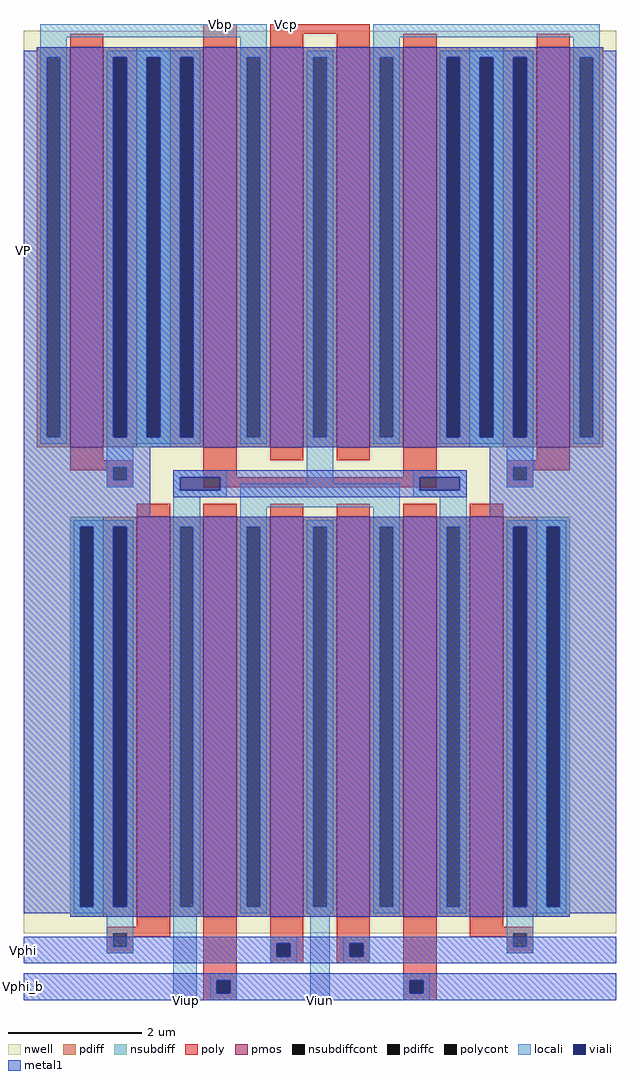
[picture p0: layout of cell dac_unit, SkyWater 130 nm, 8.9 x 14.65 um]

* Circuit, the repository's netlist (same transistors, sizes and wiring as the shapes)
* NGSPICE file created from dac_unit.ext - technology: sky130A

.subckt dac_unit Vbp Vcp Vphi Vphi_b Viup Viun VP
X0 a_3270_1770# Vcp a_2870_360# VP sky130_fd_pr__pfet_01v8 ad=1.5 pd=6.5 as=1.5 ps=6.5 w=6 l=0.5
X1 VP VP Viup VP sky130_fd_pr__pfet_01v8 ad=3 pd=13 as=1.5 ps=6.5 w=6 l=0.5
X2 a_2870_360# Vcp a_2270_1770# VP sky130_fd_pr__pfet_01v8 ad=1.5 pd=6.5 as=1.5 ps=6.5 w=6 l=0.5
X3 Viun Vphi a_2870_360# VP sky130_fd_pr__pfet_01v8 ad=1.5 pd=6.5 as=1.5 ps=6.5 w=6 l=0.5
X4 a_2870_360# Vphi Viun VP sky130_fd_pr__pfet_01v8 ad=1.5 pd=6.5 as=1.5 ps=6.5 w=6 l=0.5
X5 Viup VP VP VP sky130_fd_pr__pfet_01v8 ad=1.5 pd=6.5 as=3 ps=13 w=6 l=0.5
X6 VP Vbp a_3270_1770# VP sky130_fd_pr__pfet_01v8 ad=3 pd=13 as=1.5 ps=6.5 w=6 l=0.5
X7 a_3270_1770# VP VP VP sky130_fd_pr__pfet_01v8 ad=3 pd=13 as=3 ps=13 w=6 l=0.5
X8 VP VP a_2270_1770# VP sky130_fd_pr__pfet_01v8 ad=3 pd=13 as=3 ps=13 w=6 l=0.5
X9 a_2270_1770# Vbp VP VP sky130_fd_pr__pfet_01v8 ad=1.5 pd=6.5 as=3 ps=13 w=6 l=0.5
X10 Viup Vphi_b a_2870_360# VP sky130_fd_pr__pfet_01v8 ad=1.5 pd=6.5 as=1.5 ps=6.5 w=6 l=0.5
X11 a_2870_360# Vphi_b Viup VP sky130_fd_pr__pfet_01v8 ad=1.5 pd=6.5 as=1.5 ps=6.5 w=6 l=0.5
.ends

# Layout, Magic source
magic
tech sky130A
<< nwell >>
rect 1115 155 2005 1510
<< pmos >>
rect 1185 885 1235 1485
rect 1385 885 1435 1485
rect 1485 885 1535 1485
rect 1585 885 1635 1485
rect 1685 885 1735 1485
rect 1885 885 1935 1485
rect 1285 180 1335 780
rect 1385 180 1435 780
rect 1485 180 1535 780
rect 1585 180 1635 780
rect 1685 180 1735 780
rect 1785 180 1835 780
<< pdiff >>
rect 1135 1470 1185 1485
rect 1135 900 1150 1470
rect 1170 900 1185 1470
rect 1135 885 1185 900
rect 1235 1470 1285 1485
rect 1335 1470 1385 1485
rect 1235 900 1250 1470
rect 1270 900 1285 1470
rect 1335 900 1350 1470
rect 1370 900 1385 1470
rect 1235 885 1285 900
rect 1335 885 1385 900
rect 1435 1470 1485 1485
rect 1435 900 1450 1470
rect 1470 900 1485 1470
rect 1435 885 1485 900
rect 1535 1470 1585 1485
rect 1535 900 1550 1470
rect 1570 900 1585 1470
rect 1535 885 1585 900
rect 1635 1470 1685 1485
rect 1635 900 1650 1470
rect 1670 900 1685 1470
rect 1635 885 1685 900
rect 1735 1470 1785 1485
rect 1835 1470 1885 1485
rect 1735 900 1750 1470
rect 1770 900 1785 1470
rect 1835 900 1850 1470
rect 1870 900 1885 1470
rect 1735 885 1785 900
rect 1835 885 1885 900
rect 1935 1470 1985 1485
rect 1935 900 1950 1470
rect 1970 900 1985 1470
rect 1935 885 1985 900
rect 1235 765 1285 780
rect 1235 195 1250 765
rect 1270 195 1285 765
rect 1235 180 1285 195
rect 1335 765 1385 780
rect 1335 195 1350 765
rect 1370 195 1385 765
rect 1335 180 1385 195
rect 1435 765 1485 780
rect 1435 195 1450 765
rect 1470 195 1485 765
rect 1435 180 1485 195
rect 1535 765 1585 780
rect 1535 195 1550 765
rect 1570 195 1585 765
rect 1535 180 1585 195
rect 1635 765 1685 780
rect 1635 195 1650 765
rect 1670 195 1685 765
rect 1635 180 1685 195
rect 1735 765 1785 780
rect 1735 195 1750 765
rect 1770 195 1785 765
rect 1735 180 1785 195
rect 1835 765 1885 780
rect 1835 195 1850 765
rect 1870 195 1885 765
rect 1835 180 1885 195
<< pdiffc >>
rect 1150 900 1170 1470
rect 1250 900 1270 1470
rect 1350 900 1370 1470
rect 1450 900 1470 1470
rect 1550 900 1570 1470
rect 1650 900 1670 1470
rect 1750 900 1770 1470
rect 1850 900 1870 1470
rect 1950 900 1970 1470
rect 1250 195 1270 765
rect 1350 195 1370 765
rect 1450 195 1470 765
rect 1550 195 1570 765
rect 1650 195 1670 765
rect 1750 195 1770 765
rect 1850 195 1870 765
<< nsubdiff >>
rect 1285 1470 1335 1485
rect 1285 900 1300 1470
rect 1320 900 1335 1470
rect 1285 885 1335 900
rect 1785 1470 1835 1485
rect 1785 900 1800 1470
rect 1820 900 1835 1470
rect 1785 885 1835 900
rect 1185 765 1235 780
rect 1185 195 1200 765
rect 1220 195 1235 765
rect 1185 180 1235 195
rect 1885 765 1935 780
rect 1885 195 1900 765
rect 1920 195 1935 765
rect 1885 180 1935 195
<< nsubdiffcont >>
rect 1300 900 1320 1470
rect 1800 900 1820 1470
rect 1200 195 1220 765
rect 1900 195 1920 765
<< poly >>
rect 1185 1485 1235 1505
rect 1385 1485 1435 1520
rect 1485 1505 1635 1520
rect 1485 1485 1535 1505
rect 1585 1485 1635 1505
rect 1685 1485 1735 1505
rect 1885 1485 1935 1505
rect 1185 865 1235 885
rect 1185 855 1280 865
rect 1185 850 1250 855
rect 1240 835 1250 850
rect 1270 835 1280 855
rect 1240 825 1280 835
rect 1385 840 1435 885
rect 1485 865 1535 885
rect 1585 865 1635 885
rect 1685 840 1735 885
rect 1885 865 1935 885
rect 1385 825 1735 840
rect 1840 855 1935 865
rect 1840 835 1850 855
rect 1870 850 1935 855
rect 1870 835 1880 850
rect 1840 825 1880 835
rect 1285 780 1335 800
rect 1385 780 1435 800
rect 1485 780 1535 800
rect 1585 780 1635 800
rect 1685 780 1735 800
rect 1785 780 1835 800
rect 1285 165 1335 180
rect 1240 155 1335 165
rect 1240 135 1250 155
rect 1270 150 1335 155
rect 1270 135 1280 150
rect 1240 125 1280 135
rect 1385 85 1435 180
rect 1485 140 1535 180
rect 1485 120 1495 140
rect 1515 120 1535 140
rect 1485 110 1535 120
rect 1585 140 1635 180
rect 1585 120 1605 140
rect 1625 120 1635 140
rect 1585 110 1635 120
rect 1385 65 1405 85
rect 1425 65 1435 85
rect 1385 55 1435 65
rect 1685 85 1735 180
rect 1785 165 1835 180
rect 1785 155 1880 165
rect 1785 150 1850 155
rect 1840 135 1850 150
rect 1870 135 1880 155
rect 1840 125 1880 135
rect 1685 65 1695 85
rect 1715 65 1735 85
rect 1685 55 1735 65
<< polycont >>
rect 1250 835 1270 855
rect 1850 835 1870 855
rect 1250 135 1270 155
rect 1495 120 1515 140
rect 1605 120 1625 140
rect 1405 65 1425 85
rect 1850 135 1870 155
rect 1695 65 1715 85
<< locali >>
rect 1140 1500 1480 1520
rect 1140 1470 1180 1500
rect 1140 900 1150 1470
rect 1170 900 1180 1470
rect 1140 890 1180 900
rect 1240 1470 1380 1480
rect 1240 900 1250 1470
rect 1270 900 1300 1470
rect 1320 900 1350 1470
rect 1370 900 1380 1470
rect 1240 890 1380 900
rect 1440 1470 1480 1500
rect 1640 1500 1980 1520
rect 1440 900 1450 1470
rect 1470 900 1480 1470
rect 1440 890 1480 900
rect 1540 1470 1580 1480
rect 1540 900 1550 1470
rect 1570 900 1580 1470
rect 1240 855 1280 890
rect 1240 835 1250 855
rect 1270 835 1280 855
rect 1240 825 1280 835
rect 1340 840 1420 850
rect 1340 820 1350 840
rect 1410 820 1420 840
rect 1540 830 1580 900
rect 1640 1470 1680 1500
rect 1640 900 1650 1470
rect 1670 900 1680 1470
rect 1640 890 1680 900
rect 1740 1470 1880 1480
rect 1740 900 1750 1470
rect 1770 900 1800 1470
rect 1820 900 1850 1470
rect 1870 900 1880 1470
rect 1740 890 1880 900
rect 1940 1470 1980 1500
rect 1940 900 1950 1470
rect 1970 900 1980 1470
rect 1940 890 1980 900
rect 1840 855 1880 890
rect 1700 840 1780 850
rect 1340 810 1420 820
rect 1190 765 1280 775
rect 1190 195 1200 765
rect 1220 195 1250 765
rect 1270 195 1280 765
rect 1190 185 1280 195
rect 1240 155 1280 185
rect 1240 135 1250 155
rect 1270 135 1280 155
rect 1240 125 1280 135
rect 1340 765 1380 810
rect 1340 195 1350 765
rect 1370 195 1380 765
rect 1340 185 1380 195
rect 1440 795 1680 830
rect 1700 820 1710 840
rect 1770 820 1780 840
rect 1840 835 1850 855
rect 1870 835 1880 855
rect 1840 825 1880 835
rect 1700 810 1780 820
rect 1440 765 1480 795
rect 1440 195 1450 765
rect 1470 195 1480 765
rect 1440 185 1480 195
rect 1540 765 1580 775
rect 1540 195 1550 765
rect 1570 195 1580 765
rect 1540 185 1580 195
rect 1640 765 1680 795
rect 1640 195 1650 765
rect 1670 195 1680 765
rect 1640 185 1680 195
rect 1740 765 1780 810
rect 1740 195 1750 765
rect 1770 195 1780 765
rect 1740 185 1780 195
rect 1840 765 1930 775
rect 1840 195 1850 765
rect 1870 195 1900 765
rect 1920 195 1930 765
rect 1840 185 1930 195
rect 1340 55 1375 185
rect 1485 140 1525 150
rect 1485 120 1495 140
rect 1515 120 1525 140
rect 1485 110 1525 120
rect 1395 85 1435 95
rect 1395 65 1405 85
rect 1425 65 1435 85
rect 1395 55 1435 65
rect 1545 55 1575 185
rect 1840 155 1880 185
rect 1595 140 1635 150
rect 1595 120 1605 140
rect 1625 120 1635 140
rect 1840 135 1850 155
rect 1870 135 1880 155
rect 1840 125 1880 135
rect 1595 110 1635 120
rect 1685 85 1725 95
rect 1685 65 1695 85
rect 1715 65 1725 85
rect 1685 55 1725 65
<< viali >>
rect 1250 900 1270 1470
rect 1300 900 1320 1470
rect 1350 900 1370 1470
rect 1350 820 1410 840
rect 1750 900 1770 1470
rect 1800 900 1820 1470
rect 1850 900 1870 1470
rect 1200 195 1220 765
rect 1250 195 1270 765
rect 1710 820 1770 840
rect 1850 195 1870 765
rect 1900 195 1920 765
rect 1495 120 1515 140
rect 1405 65 1425 85
rect 1605 120 1625 140
rect 1695 65 1715 85
<< metal1 >>
rect 1135 1480 1985 1485
rect 1115 1470 2005 1480
rect 1115 900 1250 1470
rect 1270 900 1300 1470
rect 1320 900 1350 1470
rect 1370 900 1750 1470
rect 1770 900 1800 1470
rect 1820 900 1850 1470
rect 1870 900 2005 1470
rect 1115 885 2005 900
rect 1115 780 1305 885
rect 1340 840 1780 850
rect 1340 820 1350 840
rect 1410 820 1710 840
rect 1770 820 1780 840
rect 1340 810 1780 820
rect 1815 780 2005 885
rect 1115 765 2005 780
rect 1115 195 1200 765
rect 1220 195 1250 765
rect 1270 195 1850 765
rect 1870 195 1900 765
rect 1920 195 2005 765
rect 1115 185 2005 195
rect 1185 180 1935 185
rect 1115 140 2005 150
rect 1115 120 1495 140
rect 1515 120 1605 140
rect 1625 120 2005 140
rect 1115 110 2005 120
rect 1115 85 2005 95
rect 1115 65 1405 85
rect 1425 65 1695 85
rect 1715 65 2005 85
rect 1115 55 2005 65
<< labels >>
rlabel poly 1510 1520 1510 1520 1 Vcp
port 2 n
rlabel poly 1410 1520 1410 1520 1 Vbp
port 1 n
rlabel metal1 1115 1180 1115 1180 7 VP
port 7 w
rlabel metal1 1115 130 1115 130 7 Vphi
port 3 w
rlabel metal1 1115 75 1115 75 7 Vphi_b
port 4 w
rlabel locali 1560 55 1560 55 5 Viun
port 6 s
rlabel locali 1360 55 1360 55 5 Viup
port 5 s
<< end >>
